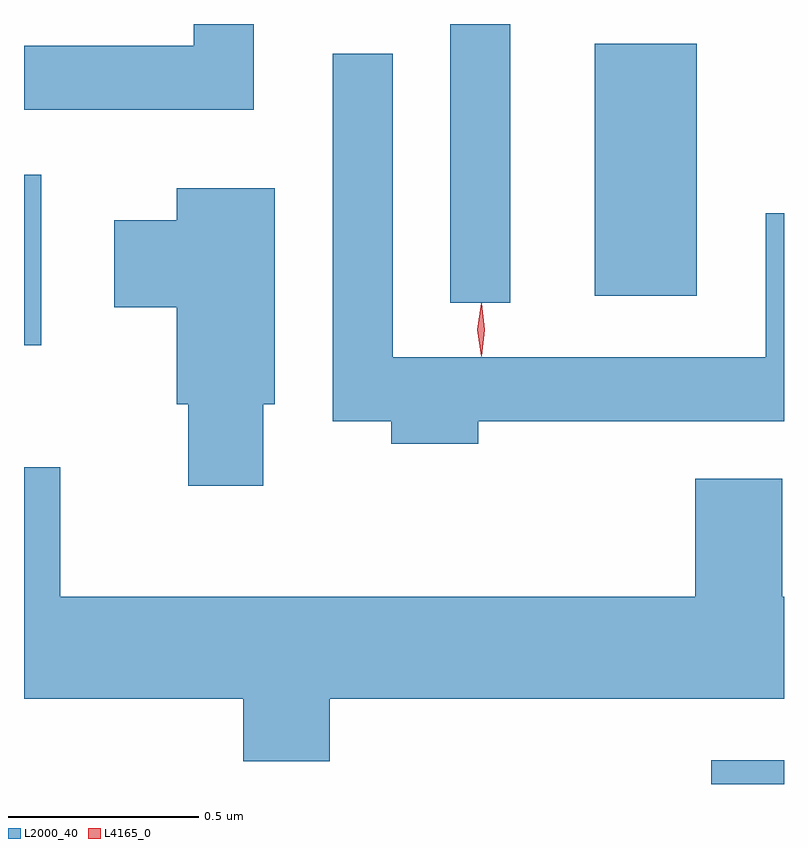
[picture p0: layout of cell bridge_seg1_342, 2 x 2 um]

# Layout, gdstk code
import gdstk
lib = gdstk.Library(unit=1e-6, precision=1e-09)
def R(c, l, rs):  # rectangles x0, y0, x1, y1
    for r in rs: c.add(gdstk.rectangle(r[:2], r[2:], *l))
def P(c, l, *ps):  # polygons
    for p in ps: c.add(gdstk.Polygon(p, *l))
L2000_40 = (2000, 40)
L4165_0 = (4165, 0)

bridge_seg1_342 = lib.new_cell('bridge_seg1_342')
R(bridge_seg1_342, L2000_40, [(911.163,877.151,911.354,877.214), (909.354,878.306,909.399,878.754), (910.476,878.418,910.634,879.151), (910.856,878.436,911.124,879.099)])
P(bridge_seg1_342, L2000_40, [(909.959,879.151),(909.801,879.151),(909.801,879.094),(909.354,879.094),(909.354,878.926),(909.959,878.926)],
  [(910.549,878.106),(911.354,878.106),(911.354,878.653),(911.306,878.653),(911.306,878.274),(910.324,878.274),(910.324,879.073),(910.166,879.073),(910.166,878.106),(910.321,878.106),(910.321,878.046),(910.549,878.046)],
  [(909.984,878.151),(910.014,878.151),(910.014,878.719),(909.756,878.719),(909.756,878.634),(909.591,878.634),(909.591,878.406),(909.756,878.406),(909.756,878.151),(909.786,878.151),(909.786,877.936),(909.984,877.936)],
  [(910.159,877.376),(911.354,877.376),(911.354,877.644),(911.349,877.644),(911.349,877.954),(911.121,877.954),(911.121,877.644),(909.449,877.644),(909.449,877.984),(909.354,877.984),(909.354,877.376),(909.931,877.376),(909.931,877.211),(910.159,877.211)])
P(bridge_seg1_342, L4165_0, [(910.557,878.277),(910.557,878.277),(910.547,878.347),(910.557,878.416),(910.557,878.416),(910.558,878.416),(910.567,878.347),(910.558,878.277)])

lib.write_gds('bridge_seg1_342.gds')
